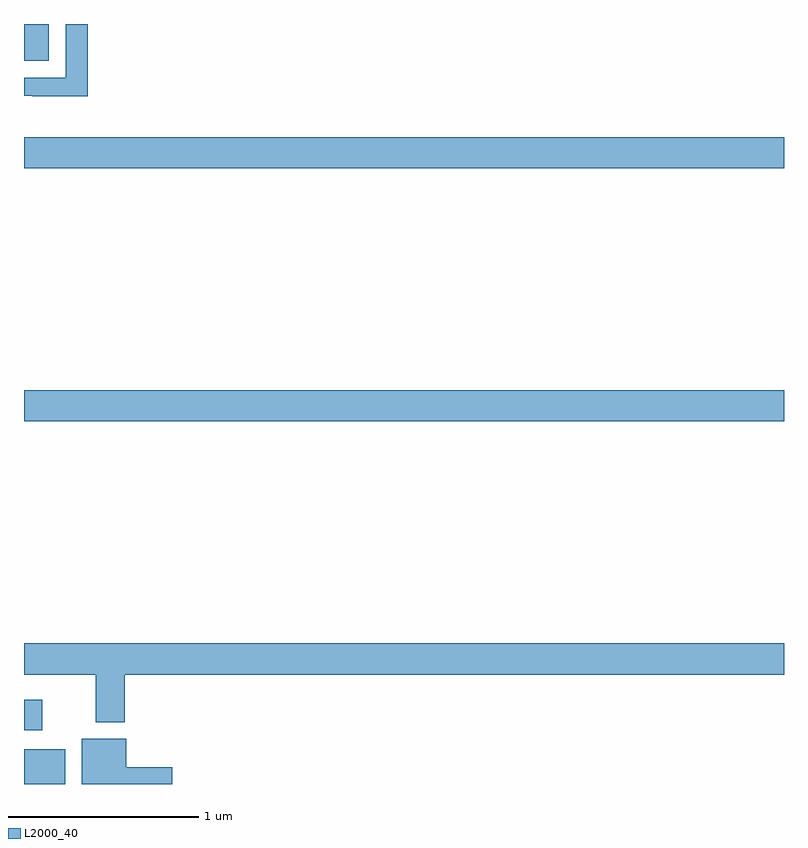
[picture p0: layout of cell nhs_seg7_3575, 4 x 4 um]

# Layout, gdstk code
import gdstk
lib = gdstk.Library(unit=1e-6, precision=1e-09)
def R(c, l, rs):  # rectangles x0, y0, x1, y1
    for r in rs: c.add(gdstk.rectangle(r[:2], r[2:], *l))
def P(c, l, *ps):  # polygons
    for p in ps: c.add(gdstk.Polygon(p, *l))
L2000_40 = (2000, 40)

nhs_seg7_3575 = lib.new_cell('nhs_seg7_3575')
R(nhs_seg7_3575, L2000_40, [(339,1040,339.217,1040.182), (339,1040.282,339.097,1040.443), (339,1041.908,343,1042.072), (339,1043.24,343,1043.404), (339,1043.807,339.13,1044)])
P(nhs_seg7_3575, L2000_40, [(339.335,1044),(339.219,1044),(339.219,1043.718),(339,1043.718),(339,1043.622),(339.043,1043.622),(339.043,1043.621),(339.335,1043.621)],
  [(339.53,1040.576),(343,1040.576),(343,1040.74),(339,1040.74),(339,1040.576),(339.377,1040.576),(339.377,1040.324),(339.53,1040.324)],
  [(339.781,1040.087),(339.538,1040.087),(339.538,1040.239),(339.305,1040.239),(339.305,1040),(339.781,1040)])

lib.write_gds('nhs_seg7_3575.gds')
